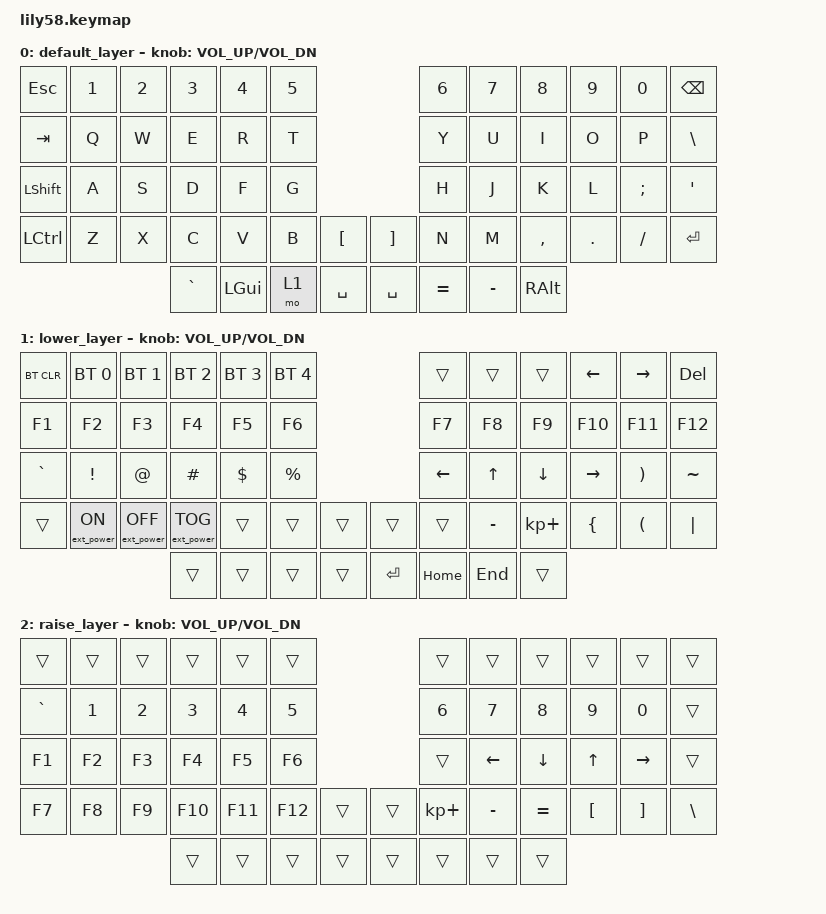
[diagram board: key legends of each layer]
/*
 * Copyright (c) 2020 The ZMK Contributors
 *
 * SPDX-License-Identifier: MIT
 */
//mo is the modifier thingy
//kp means key press

#include <behaviors.dtsi>
#include <dt-bindings/zmk/keys.h>
#include <dt-bindings/zmk/bt.h>
#include <dt-bindings/zmk/ext_power.h>

/ {
	keymap {
		compatible = "zmk,keymap";

		default_layer {
// ------------------------------------------------------------------------------------------------------------
// |  ESC  |  1  |  2  |  3   |  4   |  5   |                   |  6   |  7    |  8    |  9   |   0   |  BACK |
// |  TAB  |  Q  |  W  |  E   |  R   |  T   |                   |  Y   |  U    |  I    |  O   |   P   |   \   |
// | SHIFT |  A  |  S  |  D   |  F   |  G   |                   |  H   |  J    |  K    |  L   |   ;   |   '   |
// |   CTL |  Z  |  X  |  C   |  V   |  B   |   "["  |  |  "]"  |  N   |  M    |  ,    |  .   |   /   | ENTER |
//                     | `  | GUI    |  FN  |  SPACE |  | SPACE |  =   | -   | RAISE |
			bindings = <
&kp ESC   &kp N1 &kp N2 &kp N3   &kp N4   &kp N5                     &kp N6 &kp N7   &kp N8    &kp N9  &kp N0   &kp BSPC
&kp TAB   &kp Q  &kp W  &kp E    &kp R    &kp T                      &kp Y  &kp U    &kp I     &kp O   &kp P    &kp BSLH
&kp LSHIFT &kp A  &kp S  &kp D    &kp F    &kp G                      &kp H  &kp J    &kp K     &kp L   &kp SEMI &kp SQT
&kp LCTRL &kp Z  &kp X  &kp C    &kp V    &kp B  &kp LBKT   &kp RBKT &kp N  &kp M    &kp COMMA &kp DOT &kp FSLH &kp RET
                        &kp GRAVE &kp LGUI &mo 1  &kp SPACE  &kp SPACE &kp EQL &kp MINUS &kp RALT 
			>;

			sensor-bindings = <&inc_dec_kp C_VOL_UP C_VOL_DN>;
		};

		lower_layer {
// ------------------------------------------------------------------------------------------------------------
// | BTCLR | BT1 | BT2 |  BT3 |  BT4 |  BT5 |                   |      |       |       |      |       |  DEL  |
// |  F1   |  F2 |  F3 |  F4  |  F5  |  F6  |                   |  F7  |  F8   |  F9   |  F10 |  F11  |  F12  |
// |   `   |  !  |  @  |  #   |  $   |  %   |                   |  ^   |  <-   |  ^    |   V  |    -> |   ~   |
// |       |     |     |      |      |      |        |  |       |      |  _    |  +    |  {   |   }   |  "|"  |
//                     |      |      |      |        |  |       |      |       |       |
			bindings = <
&bt BT_CLR &bt BT_SEL 0     &bt BT_SEL 1      &bt BT_SEL 2      &bt BT_SEL 3 &bt BT_SEL 4                 &trans    &trans    &trans          &kp LEFT    &kp RIGHT    &kp DEL
&kp F1     &kp F2           &kp F3            &kp F4            &kp F5       &kp F6                       &kp F7    &kp F8    &kp F9          &kp F10   &kp F11   &kp F12
&kp GRAVE  &kp EXCL         &kp AT            &kp HASH          &kp DOLLAR   &kp PRCNT                    &kp LEFT  &kp UP    &kp DOWN        &kp RIGHT &kp RPAR  &kp TILDE
&trans     &ext_power EP_ON &ext_power EP_OFF &ext_power EP_TOG &trans       &trans    &trans   &trans    &trans    &kp MINUS &kp KP_PLUS     &kp LBRC  &kp LPAR  &kp PIPE
                                              &trans            &trans       &trans    &trans   &kp RET   &kp HOME  &kp END    &trans
			>;

			sensor-bindings = <&inc_dec_kp C_VOL_UP C_VOL_DN>;
		};

		raise_layer {
// ------------------------------------------------------------------------------------------------------------
// |       |     |     |      |      |      |                   |      |       |       |      |       |       |
// |   `   |  1  |  2  |  3   |  4   |  5   |                   |  6   |   7   |   8   |  9   |   0   |       |
// |   F1  |  F2 |  F3 |  F4  |  F5  |  F6  |                   |      |   <-  |   ^   |  v   |  ->   |       |
// |   F7  |  F8 |  F9 |  F10 |  F11 |  F12 |        |  |       |  +   |   -   |   =   |  [   |   ]   |   \   |
//                     |      |      |      |        |  |       |      |       |       |
			bindings = <
&trans    &trans &trans &trans  &trans  &trans                       &trans      &trans    &trans    &trans   &trans    &trans
&kp GRAVE &kp N1 &kp N2 &kp N3  &kp N4  &kp N5                       &kp N6      &kp N7    &kp N8    &kp N9   &kp N0    &trans
&kp F1    &kp F2 &kp F3 &kp F4  &kp F5  &kp F6                       &trans      &kp LEFT  &kp DOWN  &kp UP   &kp RIGHT &trans
&kp F7    &kp F8 &kp F9 &kp F10 &kp F11 &kp F12   &trans   &trans    &kp KP_PLUS &kp MINUS &kp EQUAL &kp LBKT &kp RBKT  &kp BSLH
                        &trans  &trans  &trans    &trans   &trans    &trans      &trans    &trans
			>;

			sensor-bindings = <&inc_dec_kp C_VOL_UP C_VOL_DN>;
		};
	};
};
